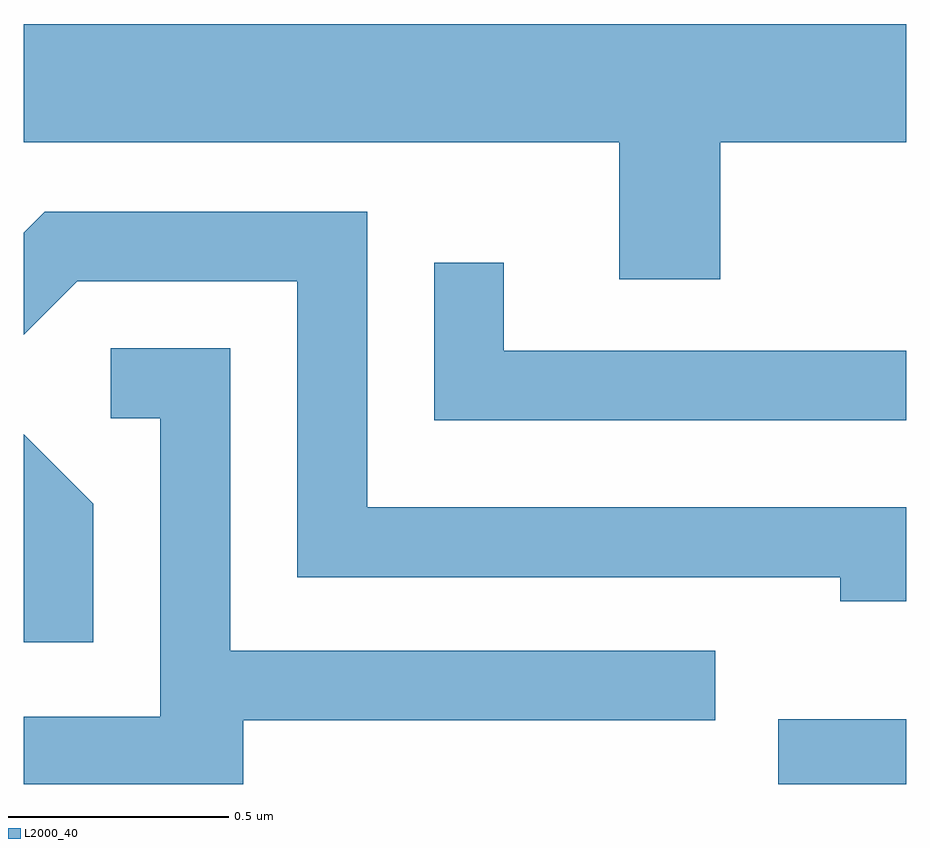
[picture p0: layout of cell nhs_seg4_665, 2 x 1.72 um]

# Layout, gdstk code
import gdstk
lib = gdstk.Library(unit=1e-6, precision=1e-09)
def R(c, l, rs):  # rectangles x0, y0, x1, y1
    for r in rs: c.add(gdstk.rectangle(r[:2], r[2:], *l))
def P(c, l, *ps):  # polygons
    for p in ps: c.add(gdstk.Polygon(p, *l))
L2000_40 = (2000, 40)

nhs_seg4_665 = lib.new_cell('nhs_seg4_665')
R(nhs_seg4_665, L2000_40, [(191.321,1370.982,191.611,1371.129)])
P(nhs_seg4_665, L2000_40, [(191.189,1372.436),(191.611,1372.436),(191.611,1372.704),(189.611,1372.704),(189.611,1372.436),(190.961,1372.436),(190.961,1372.126),(191.189,1372.126)],
  [(191.611,1371.609),(190.389,1371.609),(190.389,1372.279),(189.659,1372.279),(189.611,1372.231),(189.611,1372),(189.732,1372.121),(190.231,1372.121),(190.231,1371.451),(191.461,1371.451),(191.461,1371.396),(191.611,1371.396)],
  [(191.611,1371.964),(190.699,1371.964),(190.699,1372.163),(190.541,1372.163),(190.541,1371.806),(191.611,1371.806)],
  [(190.109,1371.126),(191.178,1371.126),(191.178,1371.284),(190.079,1371.284),(190.079,1371.969),(189.808,1371.969),(189.808,1371.811),(189.921,1371.811),(189.921,1371.134),(189.611,1371.134),(189.611,1370.982),(190.109,1370.982)],
  [(189.769,1371.617),(189.611,1371.775),(189.611,1371.303),(189.769,1371.303)])

lib.write_gds('nhs_seg4_665.gds')
